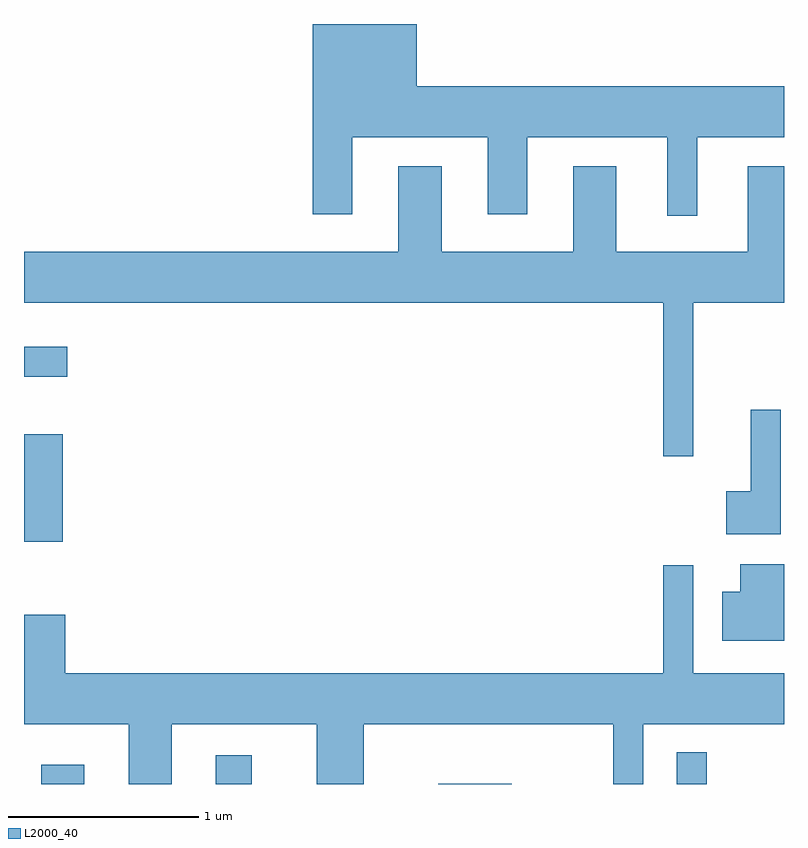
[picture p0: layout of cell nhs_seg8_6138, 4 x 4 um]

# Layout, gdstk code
import gdstk
lib = gdstk.Library(unit=1e-6, precision=1e-09)
def R(c, l, rs):  # rectangles x0, y0, x1, y1
    for r in rs: c.add(gdstk.rectangle(r[:2], r[2:], *l))
def P(c, l, *ps):  # polygons
    for p in ps: c.add(gdstk.Polygon(p, *l))
L2000_40 = (2000, 40)

nhs_seg8_6138 = lib.new_cell('nhs_seg8_6138')
R(nhs_seg8_6138, L2000_40, [(369.701,1818.342,369.929,1818.444), (370.621,1818.342,370.809,1818.494), (371.791,1818.342,372.178,1818.344), (373.046,1818.342,373.204,1818.508), (369.611,1819.616,369.814,1820.184), (369.611,1820.486,369.838,1820.644)])
P(nhs_seg8_6138, L2000_40, [(373.154,1821.746),(373.611,1821.746),(373.611,1822.014),(371.679,1822.014),(371.679,1822.342),(371.131,1822.342),(371.131,1821.341),(371.339,1821.341),(371.339,1821.746),(372.051,1821.746),(372.051,1821.341),(372.259,1821.341),(372.259,1821.746),(372.996,1821.746),(372.996,1821.333),(373.154,1821.333)],
  [(373.134,1820.876),(373.611,1820.876),(373.611,1821.594),(373.421,1821.594),(373.421,1821.144),(372.729,1821.144),(372.729,1821.594),(372.501,1821.594),(372.501,1821.144),(371.809,1821.144),(371.809,1821.594),(371.581,1821.594),(371.581,1821.144),(369.611,1821.144),(369.611,1820.876),(372.976,1820.876),(372.976,1820.068),(373.134,1820.068)],
  [(373.594,1820.313),(373.436,1820.313),(373.436,1819.884),(373.306,1819.884),(373.306,1819.656),(373.594,1819.656)],
  [(373.611,1819.499),(373.381,1819.499),(373.381,1819.354),(373.286,1819.354),(373.286,1819.096),(373.611,1819.096)],
  [(370.389,1818.656),(371.151,1818.656),(371.151,1818.342),(371.399,1818.342),(371.399,1818.656),(372.711,1818.656),(372.711,1818.342),(372.869,1818.342),(372.869,1818.656),(373.611,1818.656),(373.611,1818.924),(373.134,1818.924),(373.134,1819.493),(372.976,1819.493),(372.976,1818.924),(369.829,1818.924),(369.829,1819.234),(369.611,1819.234),(369.611,1818.656),(370.161,1818.656),(370.161,1818.342),(370.389,1818.342)])

lib.write_gds('nhs_seg8_6138.gds')
